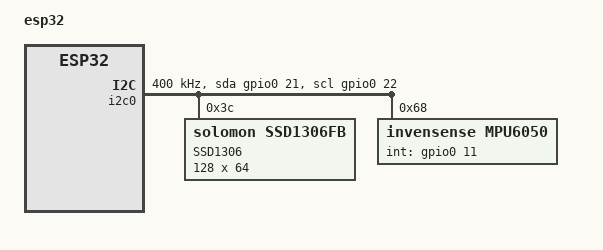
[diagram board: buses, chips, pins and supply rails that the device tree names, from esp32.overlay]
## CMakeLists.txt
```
cmake_minimum_required(VERSION 3.20.0)

set(BOARD esp32)
find_package(Zephyr)
project(my_application)

target_sources(app PRIVATE src/main.c)
```

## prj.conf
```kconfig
CONFIG_GPIO=y
CONFIG_STDOUT_CONSOLE=y
CONFIG_SENSOR=y
CONFIG_MPU6050_TRIGGER_NONE=y
CONFIG_CBPRINTF_FP_SUPPORT=y

CONFIG_MAIN_STACK_SIZE=2048
CONFIG_I2C=y
CONFIG_DISPLAY=y
CONFIG_DISPLAY_LOG_LEVEL_ERR=y

CONFIG_LOG=y

CONFIG_LVGL=y
CONFIG_HEAP_MEM_POOL_SIZE=6144
CONFIG_APP_LINK_WITH_LVGL=y
CONFIG_LV_MEM_SIZE_KILOBYTES=8
CONFIG_LV_MEM_CUSTOM=n
CONFIG_LV_USE_LOG=y
CONFIG_LV_USE_LABEL=y
CONFIG_LV_USE_BTN=y
CONFIG_LV_USE_IMG=y
CONFIG_LV_COLOR_DEPTH_1=y
CONFIG_LV_CONF_MINIMAL=y
CONFIG_LV_FONT_MONTSERRAT_8=y
CONFIG_LV_COLOR_16_SWAP=y

CONFIG_SSD1306=y
CONFIG_SSD1306_DEFAULT=y

CONFIG_LV_USE_THEME_DEFAULT=y
CONFIG_LV_Z_VDB_SIZE=64


#CONFIG_LVGL_HOR_RES_MAX=128
#CONFIG_LVGL_VER_RES_MAX=64
#CONFIG_LVGL_VDB_SIZE=50
#CONFIG_LVGL_BITS_PER_PIXEL=1

#CONFIG_LVGL_USE_DEBUG=y
#CONFIG_LVGL_COLOR_DEPTH_1=y
#CONFIG_LVGL_COLOR_TRANSP_GREEN=y
#CONFIG_LVGL_DISP_DEF_REFR_PERIOD=30
#CONFIG_LVGL_DISP_SMALL_LIMIT=30
#CONFIG_LVGL_DISP_MEDIUM_LIMIT=50
#CONFIG_LVGL_DISP_LARGE_LIMIT=70
#ONFIG_LVGL_MEM_POOL_HEAP_KERNEL=y
#CONFIG_LVGL_BUFFER_ALLOC_STATIC=y
# CONFIG_LVGL_INDEV_DEF_READ_PERIOD=50
# CONFIG_LVGL_INDEV_DEF_DRAG_LIMIT=10
# CONFIG_LVGL_INDEV_DEF_DRAG_THROW=20
# CONFIG_LVGL_INDEV_DEF_LONG_PRESS_TIME=400
# CONFIG_LVGL_INDEV_DEF_LONG_PRESS_REP_TIME=100
# CONFIG_LVGL_INDEV_DEF_GESTURE_LIMIT=50
#CONFIG_LVGL_INDEV_DEF_GESTURE_MIN_VELOCITY=3
# CONFIG_LVGL_IMG_CF_INDEXED=y
# CONFIG_LVGL_IMG_CF_ALPHA=y
# CONFIG_LVGL_IMG_CACHE_DEF_SIZE=1

#CONFIG_LVGL_USE_THEME_MONO=y
```

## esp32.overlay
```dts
/*
 * Copyright (c) 2023 Espressif Systems (Shanghai) Co., Ltd.
 *
 * SPDX-License-Identifier: Apache-2.0
 */

/ {
	model = "esp32";
	compatible = "espressif,esp32";

	aliases {
		i2c-0 = &i2c0;
	};

	chosen {
		zephyr,sram = &sram0;
		zephyr,console = &uart0;
		zephyr,shell-uart = &uart0;
		zephyr,flash = &flash0;
		zephyr,display = &ssd1306;
		
	};
};

&i2c0 {
	status = "okay";
	clock-frequency = <I2C_BITRATE_FAST>;
	sda-gpios = <&gpio0 21 (GPIO_OPEN_DRAIN  )>;
	scl-gpios = <&gpio0 22 (GPIO_OPEN_DRAIN  )>;
	pinctrl-0 = <&i2c0_default>;
	pinctrl-names = "default";
	ssd1306: ssd1306@3c {
		compatible = "solomon,ssd1306fb";
		reg = < 0x3c >;
		label = "SSD1306";
		width = < 128 >;
		height = < 64 >;
		segment-offset = < 0x0 >;
		page-offset = < 0x0 >;
		display-offset = < 0x0 >;
		multiplex-ratio = < 0x3f >;
		segment-remap;
		com-invdir;
		prechargep = < 0x22 >;
	};
	mpu6050@68 {
	compatible = "invensense,mpu6050";
	reg = <0x68>;
	status = "okay";
	int-gpios = <&gpio0 11 GPIO_ACTIVE_HIGH>;
	};	
};
```

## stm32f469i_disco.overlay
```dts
/**
 * Specifing MIPI Display Serial Interface device on devboard
 */

/ {
        leds {
                compatible = "gpio-leds";
                led_1: led_1 {
                              gpios = <&gpiok 3 GPIO_ACTIVE_HIGH>;
                              label = "User LD1";
                              };
                led_2: led_2 {
                              gpios = <&gpiod 5 GPIO_ACTIVE_HIGH>;
                              label = "User LD2";
                              };                  

        };

        mipi-dsi {
                compatible = "mipi-dsi-host";
                #address-cells = <1>;
                #size-cells = <0>;
                
                display0: mipi-dsi-device@0 {
                        compatible = "mipi-dsi-device";
                        reg = <0x0 >;
                        data-lanes = <3>;
                        pixel-format = <0>;
                };
        };

        aliases {
                  led0 = &led_1;
                  led1 = &led_2;

                };
};
```

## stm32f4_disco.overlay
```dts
/ {
  leds {
          compatible = "gpio-leds";
          led_1: led_1 {
                        gpios = <&gpioe 2 GPIO_ACTIVE_HIGH>;
                        label = "User LD1";
                        };
          led_2: led_2 {
                        gpios = <&gpioe 3 GPIO_ACTIVE_HIGH>;
                        label = "User LD2";
                        };                  

  };

  aliases {
            led0 = &led_1;
            led1 = &led_2;

          };
};
```

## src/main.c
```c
/**
 * @file main.c
 * @author Guilherme Freire (freireg1503@gmail.com)
 * @brief 
 * @version 0.1
 * @date 2022-08-22
 * 
 * @copyright Copyright (c) 2022
 * 
 */

#include <zephyr/kernel.h>
#include <zephyr/device.h>
#include <zephyr/drivers/display.h>
#include <lvgl.h>
#include <stdio.h>
#include <string.h>
#include <zephyr/drivers/sensor.h>

const struct device *const mpu6050 = DEVICE_DT_GET_ONE(invensense_mpu6050);
const struct device *display_dev = DEVICE_DT_GET(DT_CHOSEN(zephyr_display));
struct sensor_value sensorOut[7];

static int process_mpu6050(const struct device *dev)
{
	struct sensor_value temperature;
	struct sensor_value accel[3];
	struct sensor_value gyro[3];
	int rc = sensor_sample_fetch(dev);

	if (rc == 0) {
		rc = sensor_channel_get(dev, SENSOR_CHAN_ACCEL_XYZ,
					accel);
	}
	if (rc == 0) {
		rc = sensor_channel_get(dev, SENSOR_CHAN_GYRO_XYZ,
					gyro);
	}
	if (rc == 0) {
		rc = sensor_channel_get(dev, SENSOR_CHAN_AMBIENT_TEMP,
					&temperature);
	}
	if (rc == 0) {
		printf("  accel %f %f %f m/s/s\n"
		       "  gyro  %f %f %f rad/s\n",
		       sensor_value_to_double(&temperature),
		       sensor_value_to_double(&accel[0]),
		       sensor_value_to_double(&accel[1]),
		       sensor_value_to_double(&accel[2]),
		       sensor_value_to_double(&gyro[0]),
		       sensor_value_to_double(&gyro[1]),
		       sensor_value_to_double(&gyro[2]));
	} else {
		printf("sample fetch/get failed: %d\n", rc);
	}
	sensorOut[0] = temperature;
	sensorOut[1] = accel[0];
	sensorOut[2] = accel[1];
	sensorOut[3] = accel[2]; 
	sensorOut[4] = gyro[0]; 
	sensorOut[5] = gyro[1]; 
	sensorOut[6] = gyro[2]; 
	
	return rc;
}

int main(void)
{
	static lv_style_t style;
	lv_obj_t *hello_world_label;
	lv_obj_t *readings_label;
	char count_str[50] = {0};

	if (!device_is_ready(mpu6050)) {
		printf("Device %s is not ready\n", mpu6050->name);
		return 0;
	}
	if (!device_is_ready(display_dev)) {
		printf("Device %s is not ready\n", display_dev->name);
		return;
	}

	if (IS_ENABLED(CONFIG_LV_Z_POINTER_KSCAN)) {
		lv_obj_t *hello_world_button;

		hello_world_button = lv_btn_create(lv_scr_act());
		lv_obj_align(hello_world_button, LV_ALIGN_CENTER, 0, 0);
		hello_world_label = lv_label_create(hello_world_button);
	} 
	else {
		hello_world_label = lv_label_create(lv_scr_act());
	}

	lv_style_init(&style);
	lv_style_set_text_decor(&style, LV_TEXT_DECOR_NONE);

	lv_label_set_text(hello_world_label, "Accel Readings");
	lv_obj_align(hello_world_label, LV_ALIGN_BOTTOM_MID, 0, 0);

	readings_label = lv_label_create(lv_scr_act());
	lv_obj_add_style(readings_label, &style, 0);
	lv_obj_align(readings_label, LV_ALIGN_TOP_MID, 0, 0);

	lv_task_handler();
	display_blanking_off(display_dev);

	while (1) {
		int rc = process_mpu6050(mpu6050);

		if (rc != 0) {
			break;
		}
		sprintf(count_str, "Temp: %f \nAX: %f\nAY: %f\nAZ: %f", 
												sensor_value_to_double(&sensorOut[0]),
												sensor_value_to_double(&sensorOut[1]),
												sensor_value_to_double(&sensorOut[2]),
												sensor_value_to_double(&sensorOut[3]));
		lv_label_set_text(readings_label, count_str);
		lv_task_handler();

		k_sleep(K_SECONDS(1));
	}

	/* triggered runs with its own thread after exit */
	return 0;
}
```
